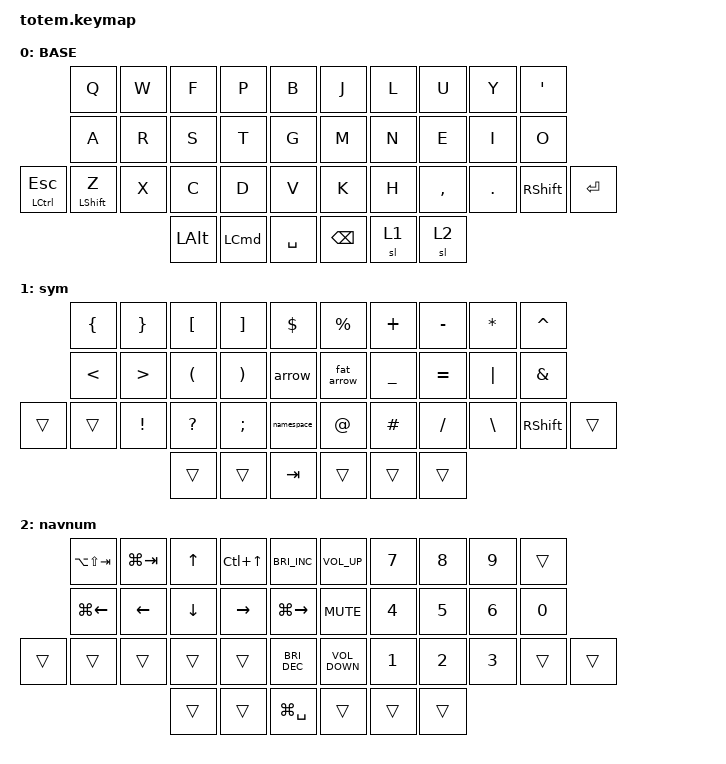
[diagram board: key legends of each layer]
//
//                                                        ▀▀▀▀▀     ▀▀▀▀▀          ▀▀█▀▀
//                                                        ▄▀▀▀▄  ▄  ▄▀▀▀▄  ▄  ▄▀▀▀▄  █  ▄▀▀▀▄
//                                                        █   █  █  █   █  █  █   █  █  █   █
//                                                         ▀▀▀   █   ▀▀▀   █   ▀▀▀   ▀   ▀▀▀
//                                                               █      ▄▄▄█▄▄▄    █   █  
//                                                               ▀      █  █  █     █▄█
//                                                             ▀▀▀▀▀    █  █  █      ▀
//                                                                      ▀  ▀  ▀
//
// ▄▄▄▄▄▄▄▄▄▄▄▄▄▄▄▄▄▄▄▄▄▄▄▄▄▄▄▄▄▄▄▄▄▄▄▄▄▄▄▄▄▄▄▄▄▄▄▄▄▄▄▄▄▄▄▄▄▄▄▄▄▄▄▄▄▄▄▄▄▄▄▄▄▄▄▄▄▄▄▄▄▄▄▄▄▄▄▄▄▄▄▄▄▄▄▄▄▄▄▄▄▄▄▄▄▄▄▄▄▄▄▄▄▄▄▄▄▄▄▄▄▄▄▄▄▄▄▄▄▄▄▄▄▄▄▄▄▄▄▄▄▄▄▄▄▄▄▄▄

#include <behaviors.dtsi>
#include <dt-bindings/zmk/keys.h>

#define BASE 0
#define NAV  1
#define SYM  2
#define ADJ  3
#define TVP1 4
#define TVP2 5

&mt {
    quick-tap-ms = <100>;
    global-quick-tap;
    flavor = "tap-preferred";
    tapping-term-ms = <170>;
};

/ {
    combos {
        compatible = "zmk,combos";

        spotlight {
            bindings = <&kp LG(SPACE)>;
            key-positions = <2 3>;
        };

        alt_del {
            bindings = <&kp LA(DELETE)>;
            key-positions = <6 7>;
        };
    };

    macros {
        arrow: arrow {
            compatible = "zmk,behavior-macro";
            #binding-cells = <0>;
            bindings = <&kp MINUS &kp GT>;
            label = "ARROW";
        };

        fat_arrow: fat_arrow {
            compatible = "zmk,behavior-macro";
            #binding-cells = <0>;
            bindings = <&kp EQUAL &kp GT>;
            label = "FAT_ARROW";
        };

        namespace: namespace {
            compatible = "zmk,behavior-macro";
            #binding-cells = <0>;
            bindings = <&kp COLON &kp COLON>;
            label = "NAMESPACE";
        };
    };

    keymap {
        compatible = "zmk,keymap";

        // ▄▄▄▄▄▄▄▄▄▄▄▄▄▄▄▄▄▄▄▄▄▄▄▄▄▄▄▄▄▄▄▄▄▄▄▄▄▄▄▄▄▄▄▄▄▄▄▄▄▄▄▄▄▄▄▄▄▄▄▄▄▄▄▄▄▄▄▄▄▄▄▄▄▄▄▄▄▄▄▄▄▄▄▄▄▄▄▄▄▄▄▄▄▄▄▄▄▄▄▄▄▄▄▄▄▄▄▄▄▄▄▄▄▄▄▄▄▄▄▄▄▄▄▄▄▄▄▄▄▄▄▄▄▄▄▄▄▄▄▄▄▄▄▄▄▄▄▄▄

        base_layer {
            // ┏━━━━━━━━━━━━━━━━━━━━━━━━━━━━━━━━━━━━━━━┓

            label = "BASE";

            // ┗━━━━━━━━━━━━━━━━━━━━━━━━━━━━━━━━━━━━━━━┛
            //             ┏━━━━━━━━━━━┳━━━━━━━━━━━┳━━━━━━━━━━━┳━━━━━━━━━━━┳━━━━━━━━━━━┓   ┏━━━━━━━━━━━┳━━━━━━━━━━━┳━━━━━━━━━━━┳━━━━━━━━━━━┳━━━━━━━━━━━┓
            //             ┃     Q     ┃     W     ┃     F     ┃     P     ┃     G     ┃   ┃     J     ┃     L     ┃     U     ┃     Y     ┃     ;     ┃
            //             ┣━━━━━━━━━━━╋━━━━━━━━━━━╋━━━━━━━━━━━╋━━━━━━━━━━━╋━━━━━━━━━━━┫   ┣━━━━━━━━━━━╋━━━━━━━━━━━╋━━━━━━━━━━━╋━━━━━━━━━━━╋━━━━━━━━━━━┫
            //             ┃     A     ┃     R     ┃     S     ┃     T     ┃     D     ┃   ┃     H     ┃     N     ┃     E     ┃     I     ┃     O     ┃
            // ┏━━━━━━━━━━━╋━━━━━━━━━━━╋━━━━━━━━━━━╋━━━━━━━━━━━╋━━━━━━━━━━━╋━━━━━━━━━━━┫   ┣━━━━━━━━━━━╋━━━━━━━━━━━╋━━━━━━━━━━━╋━━━━━━━━━━━╋━━━━━━━━━━━╋━━━━━━━━━━━┓
            // ┃     Q     ┃     Z     ┃     X     ┃     C     ┃     V     ┃     B     ┃   ┃     K     ┃     M     ┃     ,     ┃     .     ┃     /     ┃     \     ┃
            // ┗━━━━━━━━━━━┻━━━━━━━━━━━┻━━━━━━━━━━━╋━━━━━━━━━━━╋━━━━━━━━━━━╋━━━━━━━━━━━┫   ┣━━━━━━━━━━━╋━━━━━━━━━━━╋━━━━━━━━━━━╋━━━━━━━━━━━┻━━━━━━━━━━━┻━━━━━━━━━━━┛
            //                                     ┃    DEL    ┃    TAB    ┃    SPC    ┃   ┃   ENTER   ┃           ┃   BSPC    ┃
            //                                     ┗━━━━━━━━━━━┻━━━━━━━━━━━┻━━━━━━━━━━━┛   ┗━━━━━━━━━━━┻━━━━━━━━━━━┻━━━━━━━━━━━┛

            bindings = <
                      &kp Q             &kp W  &kp F         &kp P             &kp B        &kp J          &kp L  &kp U      &kp Y    &kp APOS
                      &kp A             &kp R  &kp S         &kp T             &kp G        &kp M          &kp N  &kp E      &kp I    &kp O
&mt LEFT_CONTROL ESC  &mt LEFT_SHIFT Z  &kp X  &kp C         &kp D             &kp V        &kp K          &kp H  &kp COMMA  &kp DOT  &kp RIGHT_SHIFT  &kp ENTER
                                               &kp LEFT_ALT  &kp LEFT_COMMAND  &kp SPACE    &kp BACKSPACE  &sl 1  &sl 2
            >;
        };

        sym {
            bindings = <
        &kp LEFT_BRACE  &kp RIGHT_BRACE   &kp LEFT_BRACKET      &kp RIGHT_BRACKET      &kp DOLLAR    &kp PERCENT  &kp PLUS        &kp MINUS  &kp STAR       &kp CARET
        &kp LESS_THAN   &kp GREATER_THAN  &kp LEFT_PARENTHESIS  &kp RIGHT_PARENTHESIS  &arrow        &fat_arrow   &kp UNDERSCORE  &kp EQUAL  &kp PIPE       &kp AMPERSAND
&trans  &trans          &kp EXCL          &kp QUESTION          &kp SEMI               &namespace    &kp AT       &kp HASH        &kp SLASH  &kp BACKSLASH  &kp RSHIFT     &trans
                                          &trans                &trans                 &kp TAB       &trans       &trans          &trans
            >;
        };

        navnum {
            bindings = <
        &kp LA(LS(TAB))     &kp LG(TAB)     &kp UP_ARROW  &kp LC(UP_ARROW)  &kp C_BRIGHTNESS_INC    &kp C_VOLUME_UP    &kp NUMBER_7  &kp NUMBER_8  &kp NUMBER_9  &trans
        &kp LG(LEFT_ARROW)  &kp LEFT_ARROW  &kp DOWN      &kp RIGHT         &kp LG(RIGHT_ARROW)     &kp K_MUTE         &kp NUMBER_4  &kp NUMBER_5  &kp NUMBER_6  &kp NUMBER_0
&trans  &trans              &trans          &trans        &trans            &kp C_BRIGHTNESS_DEC    &kp C_VOLUME_DOWN  &kp NUMBER_1  &kp NUMBER_2  &kp NUMBER_3  &trans        &trans
                                            &trans        &trans            &kp LG(SPACE)           &trans             &trans        &trans
            >;
        };
    };
};
